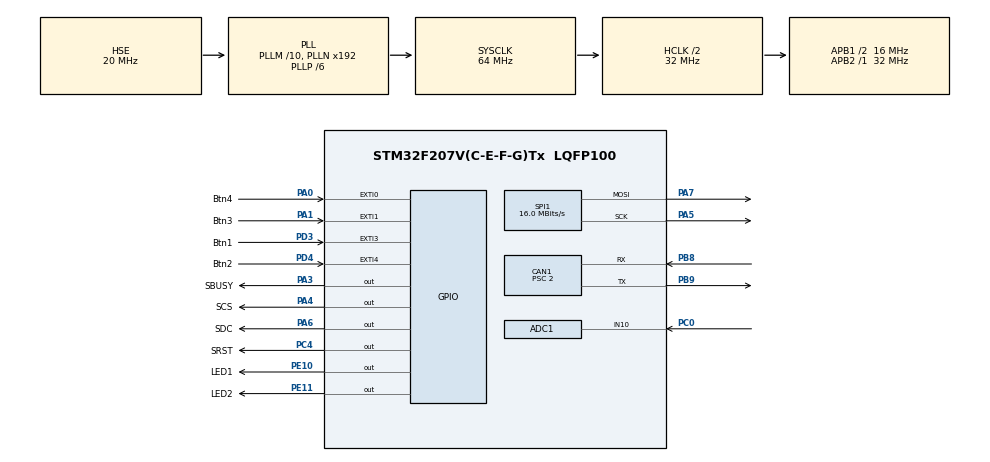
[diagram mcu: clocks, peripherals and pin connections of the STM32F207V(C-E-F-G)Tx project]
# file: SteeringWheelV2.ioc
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ADC1.Channel-0\#ChannelRegularConversion=ADC_CHANNEL_10
ADC1.ContinuousConvMode=DISABLE
ADC1.DMAContinuousRequests=DISABLE
ADC1.NbrOfConversion=1
ADC1.NbrOfConversionFlag=1
ADC1.Rank-0\#ChannelRegularConversion=1
ADC1.SamplingTime-0\#ChannelRegularConversion=ADC_SAMPLETIME_3CYCLES
ADC1.master=1
CAN1.BS1=CAN_BS1_13TQ
CAN1.BS2=CAN_BS2_2TQ
CAN1.CalculateBaudRate=500000
CAN1.CalculateTimeBit=2000
CAN1.CalculateTimeQuantum=125.0
CAN1.Prescaler=2
Mcu.Family=STM32F2
Mcu.Name=STM32F207V(C-E-F-G)Tx
Mcu.Package=LQFP100
NVIC.CAN1_RX0_IRQn=true\:0\:0\:false\:false\:true\:true\:true\:true
NVIC.CAN1_RX1_IRQn=true\:0\:0\:false\:false\:true\:true\:true\:true
NVIC.CAN1_TX_IRQn=true\:0\:0\:false\:false\:true\:true\:true\:true
NVIC.EXTI0_IRQn=true\:0\:0\:false\:false\:true\:true\:true\:true
NVIC.EXTI1_IRQn=true\:0\:0\:false\:false\:true\:true\:true\:true
NVIC.EXTI3_IRQn=true\:0\:0\:false\:false\:true\:true\:true\:true
NVIC.EXTI4_IRQn=true\:0\:0\:false\:false\:true\:true\:true\:true
NVIC.PriorityGroup=NVIC_PRIORITYGROUP_4
NVIC.TIM1_BRK_TIM9_IRQn=true\:0\:0\:false\:false\:true\:true\:true\:true
NVIC.TIM3_IRQn=true\:0\:0\:false\:false\:true\:true\:true\:true
NVIC.TIM4_IRQn=true\:0\:0\:false\:false\:true\:true\:true\:true
NVIC.TIM8_BRK_TIM12_IRQn=true\:0\:0\:false\:false\:true\:true\:true\:true
PA0-WKUP.GPIO_Label=Btn4
PA0-WKUP.GPIO_ModeDefaultEXTI=GPIO_MODE_IT_FALLING
PA0-WKUP.Signal=GPXTI0
PA1.GPIO_Label=Btn3
PA1.GPIO_ModeDefaultEXTI=GPIO_MODE_IT_FALLING
PA1.Signal=GPXTI1
PA13.Mode=JTAG_5_pins
PA13.Signal=SYS_JTMS-SWDIO
PA14.Mode=JTAG_5_pins
PA14.Signal=SYS_JTCK-SWCLK
PA15.Mode=JTAG_5_pins
PA15.Signal=SYS_JTDI
PA3.GPIO_Label=SBUSY
PA3.Signal=GPIO_Output
PA4.GPIO_Label=SCS
PA4.Signal=GPIO_Output
PA5.Mode=TX_Only_Simplex_Unidirect_Master
PA5.Signal=SPI1_SCK
PA6.GPIO_Label=SDC
PA6.Signal=GPIO_Output
PA7.Mode=TX_Only_Simplex_Unidirect_Master
PA7.Signal=SPI1_MOSI
PB3.Mode=JTAG_5_pins
PB3.Signal=SYS_JTDO-SWO
PB4.Mode=JTAG_5_pins
PB4.Signal=SYS_JTRST
PB5.Signal=I2C1_SMBA
PB8.Mode=CAN_Activate
PB8.Signal=CAN1_RX
PB9.Mode=CAN_Activate
PB9.Signal=CAN1_TX
PC0.Signal=ADCx_IN10
PC4.GPIO_Label=SRST
PC4.Signal=GPIO_Output
PD3.GPIO_Label=Btn1
PD3.GPIO_ModeDefaultEXTI=GPIO_MODE_IT_FALLING
PD3.Signal=GPXTI3
PD4.GPIO_Label=Btn2
PD4.GPIO_ModeDefaultEXTI=GPIO_MODE_IT_FALLING
PD4.Signal=GPXTI4
PE10.GPIO_Label=LED1
PE10.Signal=GPIO_Output
PE11.GPIO_Label=LED2
PE11.Signal=GPIO_Output
PH0-OSC_IN.Mode=HSE-External-Oscillator
PH0-OSC_IN.Signal=RCC_OSC_IN
PH1-OSC_OUT.Mode=HSE-External-Oscillator
PH1-OSC_OUT.Signal=RCC_OSC_OUT
ProjectManager.HeapSize=0x800
ProjectManager.StackSize=0x400
ProjectManager.TargetToolchain=STM32CubeIDE
RCC.48MHZClocksFreq_Value=96000000
RCC.AHBCLKDivider=RCC_SYSCLK_DIV2
RCC.AHBFreq_Value=32000000
RCC.APB1CLKDivider=RCC_HCLK_DIV2
RCC.APB1Freq_Value=16000000
RCC.APB1TimFreq_Value=32000000
RCC.APB2Freq_Value=32000000
RCC.APB2TimFreq_Value=32000000
RCC.CortexFreq_Value=32000000
RCC.HCLKFreq_Value=32000000
RCC.HSE_VALUE=20000000
RCC.HSI_VALUE=16000000
RCC.LSE_VALUE=32768
RCC.PLLM=10
RCC.PLLP=RCC_PLLP_DIV6
RCC.PLLSourceVirtual=RCC_PLLSOURCE_HSE
RCC.SYSCLKFreq_VALUE=64000000
RCC.SYSCLKSource=RCC_SYSCLKSOURCE_PLLCLK
RCC.VCOOutputFreq_Value=384000000
SH.ADCx_IN10.0=ADC1_IN10,IN10
SPI1.BaudRatePrescaler=SPI_BAUDRATEPRESCALER_2
SPI1.CLKPhase=SPI_PHASE_1EDGE
SPI1.CLKPolarity=SPI_POLARITY_LOW
SPI1.CalculateBaudRate=16.0 MBits/s
SPI1.Direction=SPI_DIRECTION_2LINES
SPI1.Mode=SPI_MODE_MASTER
SPI1.VirtualType=VM_MASTER
TIM12.AutoReloadPreload=TIM_AUTORELOAD_PRELOAD_ENABLE
TIM12.Period=49
TIM12.Prescaler=31999
TIM3.AutoReloadPreload=TIM_AUTORELOAD_PRELOAD_ENABLE
TIM3.Period=99
TIM3.Prescaler=31999
TIM4.AutoReloadPreload=TIM_AUTORELOAD_PRELOAD_ENABLE
TIM4.Period=9
TIM4.Prescaler=31999
TIM9.AutoReloadPreload=TIM_AUTORELOAD_PRELOAD_ENABLE
TIM9.Period=999
TIM9.Prescaler=63999
VP_TIM12_VS_ClockSourceINT.Mode=Internal
VP_TIM3_VS_ClockSourceINT.Mode=Internal
VP_TIM4_VS_ClockSourceINT.Mode=Internal
VP_TIM9_VS_ClockSourceINT.Mode=Internal
board=custom

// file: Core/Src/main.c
/* USER CODE BEGIN Header */
/**
 ******************************************************************************
 * @file           : main.c
 * @brief          : Main program body
 ******************************************************************************
 * @attention
 *
 * Copyright (c) 2022 STMicroelectronics.
 * All rights reserved.
 *
 * This software is licensed under terms that can be found in the LICENSE file
 * in the root directory of this software component.
 * If no LICENSE file comes with this software, it is provided AS-IS.
 *
 ******************************************************************************
 */
/* USER CODE END Header */
#include "main.h"
#include "adc.h"
#include "can.h"
#include "spi.h"
#include "tim.h"
#include "gpio.h"

/* USER CODE BEGIN Includes */
#include "MS_Screen.h"
#include "heartbeat.h"
#include <message_queue.h>
#include <CAN_SW.h>
#include "btn.h"
#include <Timer.h>

/* USER CODE END Includes */

/* USER CODE BEGIN PTD */
//extern UBYTE *Canvas;
/* USER CODE END PTD */

/* USER CODE BEGIN PV */

// screen variables
struct main_screen_text main_txt;
dispSelector_t disp_select1;
volatile PAINT_TIME sPaint_time;
uint8_t DISP_STATE = MAIN_SCREEN;
UBYTE DynamicScreen[33600];
UBYTE Canvas_STARTUP[33600];

// software timer
ms_timer_t soft_timer;

// ADC
uint32_t ADC1_value = 0;

// buttons
volatile bool btn_pressed[4] = { false, false, false, false };

// battery data
volatile uint8_t batSOC = 100;

// initiating heartbeat
SW_HeartbeatState_t SW_hbState;
extern DVL_HeartbeatState_t DVL_hbState;
/* USER CODE END PV */

void SystemClock_Config(void);

int main(void) {
	/* USER CODE BEGIN 1 */
	sPaint_time.Hour = 0;
	sPaint_time.Min = 0;
	sPaint_time.Sec = 0;

	// softwate timer
	soft_timer = timer_init(1, true, &soft_timer_disp_cb);

	/* USER CODE END 1 */

	/* MCU Configuration--------------------------------------------------------*/

	/* Reset of all peripherals, Initializes the Flash interface and the Systick. */
	HAL_Init();

	/* Configure the system clock */
	SystemClock_Config();

	/* Initialize all configured peripherals */
	MX_GPIO_Init();
	MX_SPI1_Init();
	MX_CAN1_Init();
	MX_ADC1_Init();
	MX_TIM9_Init();
	MX_TIM3_Init();
	MX_TIM12_Init();
	MX_TIM4_Init();
	/* USER CODE BEGIN 2 */

	SW_hbState.flags.rawMem = 0;
	SW_hbState.missionID = MISSION_NONE;
	SW_hbState.stateID = SW_STATE_START;

	// Initialise the screen
	if (Screen_Init() != 0) {
		HAL_GPIO_TogglePin(LED2_GPIO_Port, LED2_Pin);
	}
	/* you have to edit the startup_stm32fxxx.s file and set a big enough heap size */

	Screen_Static_Init(Canvas_STARTUP);
	Screen_Startup(Canvas_STARTUP);
	HAL_Delay(3000);

	init_Main_text();
	Screen_Dynamic_Init(DynamicScreen);

	/* USER CODE END 2 */

	/* Infinite loop */
	/* USER CODE BEGIN WHILE */

	CAN_setup();
	HAL_CAN_Start(&hcan1);

	// Hardware timer start
	HAL_TIM_Base_Start_IT(&htim9); // screen clock timer (1Hz)
	HAL_TIM_Base_Start_IT(&htim3); // ADC reading for pots (10Hz)
	HAL_TIM_Base_Start_IT(&htim4); // btn debouncing timer (100Hz)
	HAL_TIM_Base_Start_IT(&htim12); // SW heartbeat timer (50Hz)

	// Software timer start
	timer_start(&soft_timer);

	//SW_hbState.stateID = SW_STATE_READY;
	SW_hbState.stateID = SW_STATE_SELECT_MISSION;

	while (1) {
		/* USER CODE END WHILE */

		/* USER CODE BEGIN 3 */

		// process incoming can message
		CAN_MSG_Generic_t msg;

		while (queue_next(&CAN1_Rx, &msg)) {
			HAL_GPIO_TogglePin(LED1_GPIO_Port, LED1_Pin);
			// check for heartbeat
			if (check_heartbeat_msg(&msg)) {
				HAL_GPIO_TogglePin(LED2_GPIO_Port, LED2_Pin);
			}
		}

		// SW state machine

		switch (SW_hbState.stateID) {

		case SW_STATE_READY:
			if (DVL_hbState.stateID != DVL_STATE_SELECT_MISSION) {
				Draw_BoardStates(DynamicScreen);
				while (queue_next(&CAN1_Rx, &msg)) {
					if ((SW_hbState.stateID != SW_STATE_READY)) {
						break;
					}
					HAL_GPIO_TogglePin(LED1_GPIO_Port, LED1_Pin);
					// check for heartbeat
					if (check_heartbeat_msg(&msg)) {
						HAL_GPIO_TogglePin(LED2_GPIO_Port, LED2_Pin);
					}
				}
			}

			SW_hbState.stateID = SW_STATE_SELECT_MISSION;
			break;

		case SW_STATE_SELECT_MISSION:
			// UPDATE SCREEN PRINT
			Screen_Update(ADC1_value);
			timer_update(&soft_timer, NULL);

			break;

		case SW_STATE_MISSION_ACK:
			while (DVL_hbState.stateID != DVL_STATE_CHECK_EBS) {
				if ((SW_hbState.stateID != SW_STATE_MISSION_ACK)) {
					break;
				}
				while (queue_next(&CAN1_Rx, &msg)) {
					HAL_GPIO_TogglePin(LED1_GPIO_Port, LED1_Pin);
					// check for heartbeat
					if (check_heartbeat_msg(&msg)) {
						HAL_GPIO_TogglePin(LED2_GPIO_Port, LED2_Pin);
					}
				}
			}
			SW_hbState.stateID = SW_STATE_IN_MISSION;
			break;

		case SW_STATE_IN_MISSION:
			while (DVL_hbState.stateID != DVL_STATE_SELECT_MISSION) {
				if ((SW_hbState.stateID != SW_STATE_IN_MISSION)) {
					break;
				}
				while (queue_next(&CAN1_Rx, &msg)) {
					HAL_GPIO_TogglePin(LED1_GPIO_Port, LED1_Pin);
					// check for heartbeat
					if (check_heartbeat_msg(&msg)) {
						HAL_GPIO_TogglePin(LED2_GPIO_Port, LED2_Pin);
					}
				}
			}

			SW_hbState.flags._SW_Flags.MISSION_SELECTED = 0;
			SW_hbState.stateID = SW_STATE_SELECT_MISSION;
			SW_hbState.missionID = MISSION_NONE;
			clear_main();
			break;
		}
	}
	/* USER CODE END 3 */
}

void SystemClock_Config(void) {
	RCC_OscInitTypeDef RCC_OscInitStruct = { 0 };
	RCC_ClkInitTypeDef RCC_ClkInitStruct = { 0 };

	/** Initializes the RCC Oscillators according to the specified parameters
	 * in the RCC_OscInitTypeDef structure.
	 */
	RCC_OscInitStruct.OscillatorType = RCC_OSCILLATORTYPE_HSE;
	RCC_OscInitStruct.HSEState = RCC_HSE_ON;
	RCC_OscInitStruct.PLL.PLLState = RCC_PLL_ON;
	RCC_OscInitStruct.PLL.PLLSource = RCC_PLLSOURCE_HSE;
	RCC_OscInitStruct.PLL.PLLM = 10;
	RCC_OscInitStruct.PLL.PLLN = 192;
	RCC_OscInitStruct.PLL.PLLP = RCC_PLLP_DIV6;
	RCC_OscInitStruct.PLL.PLLQ = 4;
	if (HAL_RCC_OscConfig(&RCC_OscInitStruct) != HAL_OK) {
		Error_Handler();
	}

	/** Initializes the CPU, AHB and APB buses clocks
	 */
	RCC_ClkInitStruct.ClockType = RCC_CLOCKTYPE_HCLK | RCC_CLOCKTYPE_SYSCLK
			| RCC_CLOCKTYPE_PCLK1 | RCC_CLOCKTYPE_PCLK2;
	RCC_ClkInitStruct.SYSCLKSource = RCC_SYSCLKSOURCE_PLLCLK;
	RCC_ClkInitStruct.AHBCLKDivider = RCC_SYSCLK_DIV2;
	RCC_ClkInitStruct.APB1CLKDivider = RCC_HCLK_DIV2;
	RCC_ClkInitStruct.APB2CLKDivider = RCC_HCLK_DIV1;

	if (HAL_RCC_ClockConfig(&RCC_ClkInitStruct, FLASH_LATENCY_1) != HAL_OK) {
		Error_Handler();
	}
}

void Error_Handler(void) {
	__disable_irq();
	while (1) {
	}
}
